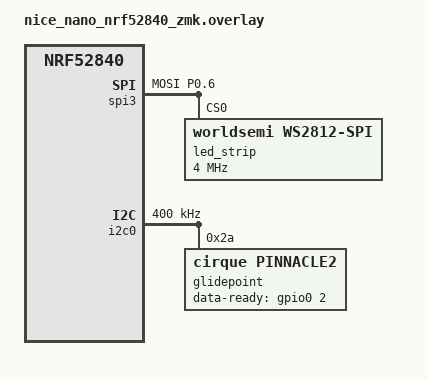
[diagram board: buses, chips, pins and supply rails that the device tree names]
/*
 * nice!nano v2 specifics: the backlight chain and the Cirque trackpad.
 *
 * GENERATED by tools/gen_overlay.py -- edit NANO_NETS in tools/gen_schematic.py.
 *
 * Filename follows upstream ZMK's move to Zephyr hardware model v2: the board target
 * is `nice_nano//zmk` with v2 as a revision, and board-specific shield overlays are
 * named after the board rather than `nice_nano_v2.overlay`.
 *
 * SPDX-License-Identifier: MIT
 */

#include <dt-bindings/led/led.h>

&pinctrl {
    spi3_default: spi3_default {
        group1 {
            psels = <NRF_PSEL(SPIM_MOSI, 0, 6)>;
        };
    };

    spi3_sleep: spi3_sleep {
        group1 {
            psels = <NRF_PSEL(SPIM_MOSI, 0, 6)>;
            low-power-enable;
        };
    };
};

/* Backlight: 60 SK6812MINI-E on one chain, clocked out of SPIM3 MOSI.
 * The data line goes through a 1k series resistor into a 74AHCT1G125 on the 5 V LED
 * rail, because an SK6812 at 5 V wants a logic high above ~3.5 V and the nRF52840
 * only drives 3.3 V. */
&spi3 {
    compatible = "nordic,nrf-spim";
    status = "okay";

    pinctrl-0 = <&spi3_default>;
    pinctrl-1 = <&spi3_sleep>;
    pinctrl-names = "default", "sleep";

    led_strip: ws2812@0 {
        compatible = "worldsemi,ws2812-spi";

        reg = <0>; /* ignored, but necessary for SPI bindings */
        spi-max-frequency = <4000000>;

        chain-length = <60>; /* one per key */
        spi-one-frame = <0x70>;
        spi-zero-frame = <0x40>;
        color-mapping = <LED_COLOR_ID_GREEN LED_COLOR_ID_RED LED_COLOR_ID_BLUE>;
    };
};

/* Trackpad: Cirque GlidePoint TM040040 over I2C.
 *
 * No pinctrl needed -- the nice!nano already pins &i2c0 to TWIM_SDA on P0.17 and
 * TWIM_SCL on P0.20, which is exactly where the schematic puts TP_SDA/TP_SCL. The
 * board declares it as "nordic,nrf-twi"; override to twim for the DMA variant.
 *
 * The module ships strapped for SPI: remove its R1 to select I2C. VDD is on the
 * nano's switchable VCC rail, so ZMK's ext_power gates the trackpad too. */
&i2c0 {
    compatible = "nordic,nrf-twim";
    status = "okay";
    clock-frequency = <I2C_BITRATE_FAST>;

    glidepoint: glidepoint@2a {
        compatible = "cirque,pinnacle2";
        reg = <0x2a>;
        status = "okay";

        data-ready-gpios = <&gpio0 2 GPIO_ACTIVE_HIGH>;
        sensitivity = "2x";
        data-mode = "absolute";
        primary-tap-enable;
        sleep-mode-enable;
    };
};

/ {
    chosen {
        zmk,underglow = &led_strip;
    };

    glidepoint_listener: glidepoint_listener {
        compatible = "zmk,input-listener";
        device = <&glidepoint>;
    };
};
